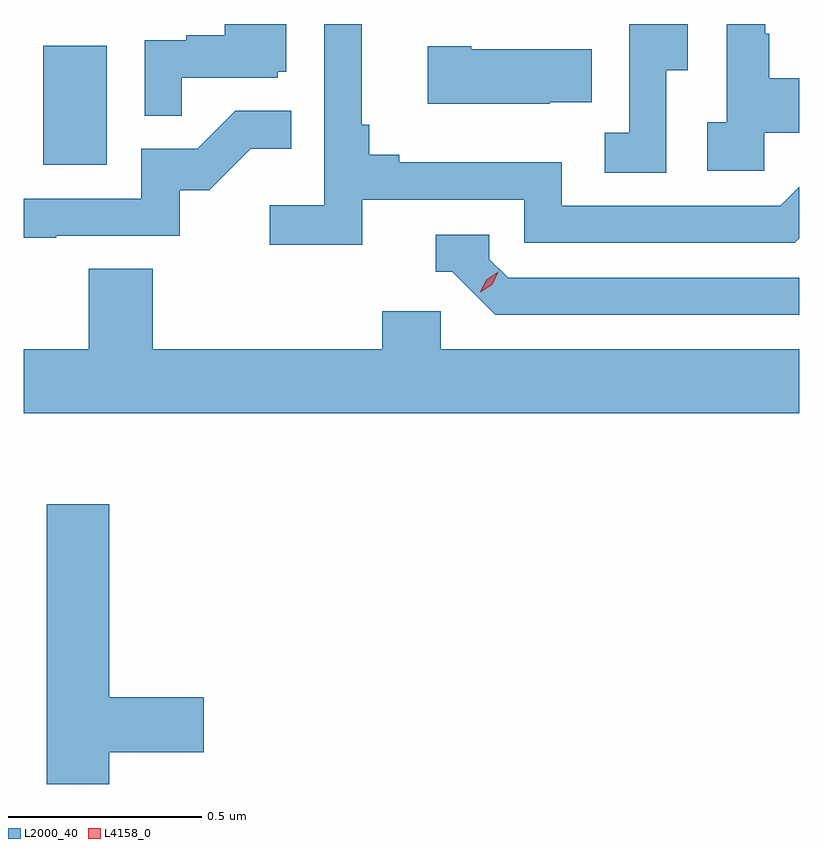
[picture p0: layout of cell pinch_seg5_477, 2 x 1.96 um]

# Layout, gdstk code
import gdstk
lib = gdstk.Library(unit=1e-6, precision=1e-09)
def R(c, l, rs):  # rectangles x0, y0, x1, y1
    for r in rs: c.add(gdstk.rectangle(r[:2], r[2:], *l))
def P(c, l, *ps):  # polygons
    for p in ps: c.add(gdstk.Polygon(p, *l))
L2000_40 = (2000, 40)
L4158_0 = (4158, 0)

pinch_seg5_477 = lib.new_cell('pinch_seg5_477')
R(pinch_seg5_477, L2000_40, [(890.372,864.06,890.536,864.367)])
P(pinch_seg5_477, L2000_40, [(891.978,864.304),(892.033,864.304),(892.033,864.423),(891.882,864.423),(891.882,864.143),(891.819,864.143),(891.819,864.04),(891.978,864.04)],
  [(892.23,864.143),(892.321,864.143),(892.321,864.283),(892.243,864.283),(892.243,864.398),(892.233,864.398),(892.233,864.423),(892.134,864.423),(892.134,864.17),(892.083,864.17),(892.083,864.045),(892.23,864.045)],
  [(891.194,863.97),(891.612,863.97),(891.612,863.859),(892.309,863.859),(892.321,863.871),(892.321,864.004),(892.272,863.955),(891.708,863.955),(891.708,864.067),(891.289,864.067),(891.289,864.086),(891.212,864.086),(891.212,864.163),(891.193,864.163),(891.193,864.423),(891.096,864.423),(891.096,863.956),(890.955,863.956),(890.955,863.854),(891.194,863.854)],
  [(890.729,864.285),(890.976,864.285),(890.976,864.3),(890.998,864.3),(890.998,864.423),(890.84,864.423),(890.84,864.394),(890.741,864.394),(890.741,864.381),(890.634,864.381),(890.634,864.187),(890.729,864.187)],
  [(891.677,864.221),(891.785,864.221),(891.785,864.358),(891.475,864.358),(891.475,864.366),(891.363,864.366),(891.363,864.218),(891.677,864.218)],
  [(890.405,863.877),(890.724,863.877),(890.724,863.994),(890.8,863.994),(890.907,864.101),(891.011,864.101),(891.011,864.2),(890.867,864.2),(890.769,864.102),(890.625,864.102),(890.625,863.973),(890.321,863.973),(890.321,863.872),(890.405,863.872)],
  [(892.321,863.769),(891.57,863.769),(891.522,863.817),(891.522,863.88),(891.383,863.88),(891.383,863.784),(891.426,863.784),(891.537,863.673),(892.321,863.673)],
  [(892.321,863.584),(891.396,863.584),(891.396,863.682),(891.245,863.682),(891.245,863.584),(890.654,863.584),(890.654,863.792),(890.489,863.792),(890.489,863.584),(890.321,863.584),(890.321,863.42),(892.321,863.42)],
  [(890.542,862.546),(890.785,862.546),(890.785,862.688),(890.542,862.688),(890.542,863.185),(890.381,863.185),(890.381,862.464),(890.542,862.464)])
P(pinch_seg5_477, L4158_0, [(891.498,863.732),(891.498,863.732),(891.514,863.764),(891.545,863.784),(891.545,863.784),(891.545,863.784),(891.529,863.751),(891.498,863.732)])

lib.write_gds('pinch_seg5_477.gds')
